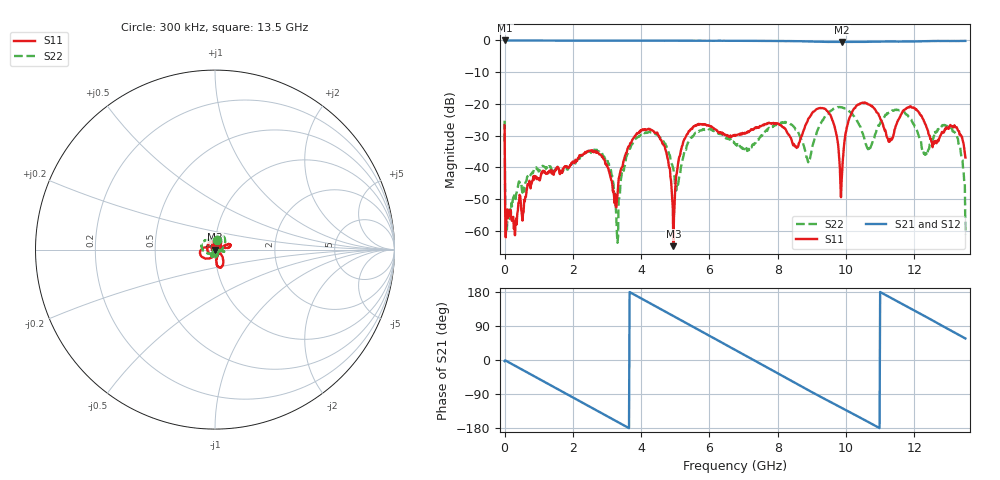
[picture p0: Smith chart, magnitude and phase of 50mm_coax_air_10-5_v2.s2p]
!Agilent Technologies,N5230C,MY48100320,A.08.04.10
!Agilent N5230C: A.08.04.10
!Date: Wednesday, October 05, 2016 23:47:01
!Correction: S11(Full 2 Port(1,2))
!S21(Full 2 Port(1,2))
!S12(Full 2 Port(1,2))
!S22(Full 2 Port(1,2))
!S2P File: Measurements: S11, S21, S12, S22:
# Hz S  dB  R 50
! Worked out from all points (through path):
!   801 points, 300 kHz to 13.5 GHz, reference 50 ohm
!   highest |S21| = 0.01 dB at 17.17 MHz (marker M1); lowest = -0.5 dB at 9.889 GHz (marker M2)
!   group delay of S21, straight-line fit = 136 ps
!   lowest |S11| = -64.8 dB at 4.945 GHz (marker M3), VSWR 1.00, Z = 50 + j0.0542 ohm
!   |S11| at or under -10 dB: start of sweep to end of sweep
!   |S22| runs from -63.7 to -20.9 dB; largest |S21 - S12| = 0.0053
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300000  -26.79 78.8  -0.07 -2.8  -0.07 -2.8  -25.27 77.7
1.717462e7  -53.82 108.6  0.01 -1.0  0.00 -1.0  -51.54 81.9
8.467312e7  -53.23 24.4  -0.01 -4.2  -0.01 -4.2  -55.08 47.3
2.871686e8  -58.79 38.2  -0.02 -14.3  -0.02 -14.3  -48.50 43.0
2.2615e9  -36.22 -65.3  -0.05 -111.7  -0.04 -111.6  -36.02 33.6
2.987109e9  -39.42 -126.0  -0.05 -147.4  -0.05 -147.4  -37.56 8.1
3.307726e9  -48.74 75.1  -0.05 -163.2  -0.06 -163.2  -63.72 6.5
3.712718e9  -32.04 32.2  -0.06 176.8  -0.06 176.8  -32.97 149.7
4.505825e9  -29.92 -10.4  -0.07 137.7  -0.07 137.7  -30.00 104.3
4.944565e9  -64.79 109.9  -0.06 116.0  -0.07 116.1  -40.39 58.8
5.450804e9  -28.01 105.6  -0.08 91.0  -0.09 91.0  -30.74 -95.6
6.75015e9  -29.71 -67.0  -0.09 26.9  -0.10 26.8  -32.62 -97.3
8.555735e9  -33.85 -30.5  -0.22 -62.6  -0.22 -62.6  -28.47 -21.0
9.01135e9  -22.86 -135.3  -0.33 -85.1  -0.33 -85.2  -33.87 78.8
9.534463e9  -23.31 172.2  -0.45 -110.1  -0.45 -110.2  -22.32 78.8
9.88883e9  -41.18 -7.0  -0.48 -127.0  -0.47 -127.0  -21.07 58.0
1.037819e10  -20.14 -65.4  -0.46 -150.3  -0.45 -150.4  -26.30 16.2
1.068194e10  -20.19 -78.8  -0.40 -164.9  -0.40 -164.9  -34.92 -76.3
1.125567e10  -31.91 -40.9  -0.33 167.0  -0.34 166.9  -22.75 174.0
1.231878e10  -26.26 10.9  -0.23 115.3  -0.21 115.3  -36.03 25.1
1.316251e10  -27.36 116.6  -0.17 73.3  -0.14 73.2  -28.81 -117.4
1.35e10  -36.87 118.6  -0.14 56.8  -0.13 56.8  -61.07 14.8
